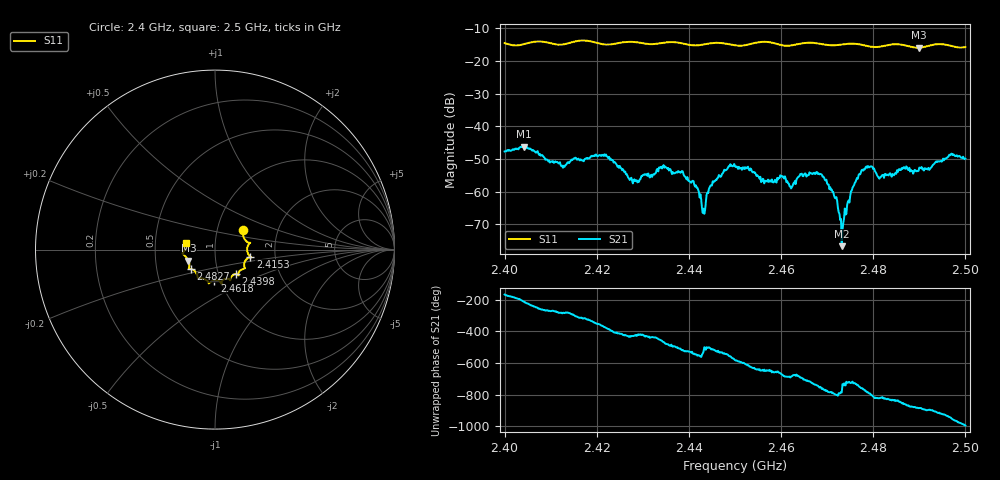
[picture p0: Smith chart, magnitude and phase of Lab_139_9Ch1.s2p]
# Hz S RI R 50
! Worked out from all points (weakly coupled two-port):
!   601 points, 2.4 GHz to 2.5 GHz, reference 50 ohm
!   highest |S21| = -46.20 dB at 2.4042 GHz (marker M1); lowest = -76.8 dB at 2.4732 GHz (marker M2)
!   lowest |S11| = -15.9 dB at 2.4898 GHz (marker M3), VSWR 1.38, Z = 36.8 - j4.65 ohm
!   |S11| at or under -10 dB: start of sweep to end of sweep
!   S12 and S22 are empty: the file has one direction only
!   S11 on the Smith chart (normalised r, x): 2.4 GHz: 1.33, +0.29; 2.4153 GHz: 1.48, -0.12; 2.4398 GHz: 1.21, -0.34; 2.4618 GHz: 0.94, -0.33; 2.4827 GHz: 0.75, -0.17; 2.5 GHz: 0.72, +0.06
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2.4e9  0.1555 0.1068  -0.00399 -0.000982  0 0  0 0
2.404167e9  0.176 0.0458  -0.00418 0.00255  0 0  0 0
2.412667e9  0.1797 -0.0102  0.000452 0.00227  0 0  0 0
2.415333e9  0.1966 -0.0395  0.00183 0.00275  0 0  0 0
2.416667e9  0.2024 -0.0435  0.00203 0.00225  0 0  0 0
2.422167e9  0.1666 -0.0665  0.00329 -0.00114  0 0  0 0
2.428333e9  0.1654 -0.1048  0.000587 -0.00132  0 0  0 0
2.433333e9  0.1299 -0.1334  8.46e-05 -0.00203  0 0  0 0
2.439833e9  0.1158 -0.136  -0.00143 -0.000369  0 0  0 0
2.4415e9  0.0998 -0.1424  -0.00124 0.00011  0 0  0 0
2.443167e9  0.0881 -0.1564  -0.000534 -0.000112  0 0  0 0
2.445e9  0.0838 -0.169  -0.00109 -0.000573  0 0  0 0
2.45e9  0.0651 -0.1623  -0.00184 0.0016  0 0  0 0
2.461833e9  -0.00341 -0.1727  0.000999 0.000681  0 0  0 0
2.466667e9  -0.0347 -0.188  0.00186 -0.000209  0 0  0 0
2.470833e9  -0.0566 -0.1654  0.000477 -0.000938  0 0  0 0
2.473167e9  -0.0823 -0.1598  5.87e-05 -0.000133  0 0  0 0
2.477333e9  -0.0971 -0.1504  0.00156 -0.00123  0 0  0 0
2.482667e9  -0.1347 -0.1088  -0.000513 -0.00178  0 0  0 0
2.483333e9  -0.1399 -0.1084  -0.00058 -0.00167  0 0  0 0
2.489833e9  -0.1481 -0.0615  -0.00202 -0.000515  0 0  0 0
2.5e9  -0.1594 0.0387  0.000287 0.00319  0 0  0 0
